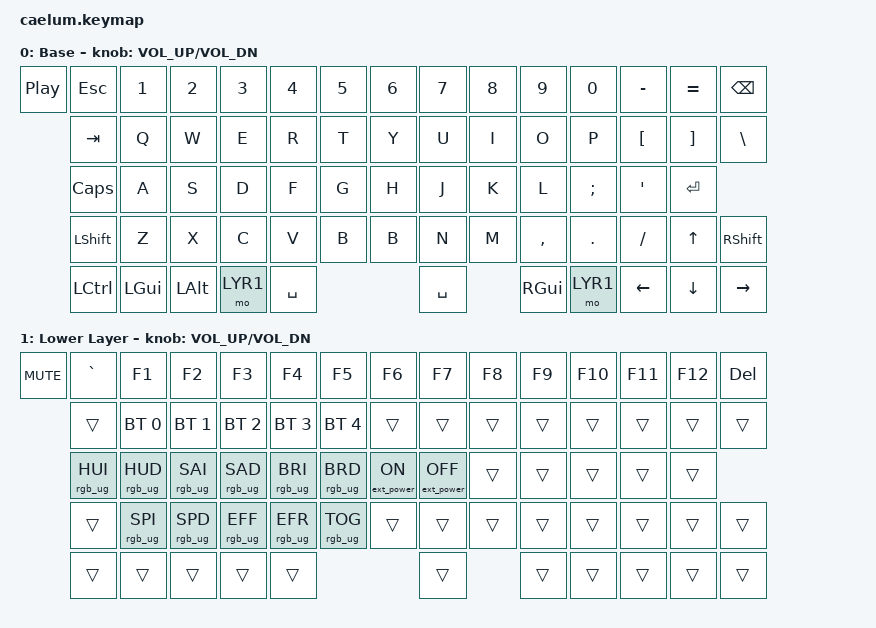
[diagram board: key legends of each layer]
#include <behaviors.dtsi>
#include <dt-bindings/zmk/bt.h>
#include <dt-bindings/zmk/ext_power.h>
#include <dt-bindings/zmk/keys.h>
#include <dt-bindings/zmk/rgb.h>

#define LYR1 1

/ {
    keymap {
        compatible = "zmk,keymap";

        default_layer { // Layer 0
            display-name = "Base";
            // ----------------------------------------------------------------------------------------------------------------------------------------------------
            //  | C_PP    | ESC     | 1       | 2       | 3       | 4       | 5       |       | 6       | 7       | 8       | 9       | 0       | -       | =       | BSPC    |
            //            | TAB     | Q       | W       | E       | R       | T       |       | Y       | U       | I       | O       | P       | [       | ]       | \       |
            //            | CAPS    | A       | S       | D       | F       | G       |       | H       | J       | K       | L       | ;       | '       |       ENTER       |
            //            | LSHFT   | Z       | X       | C       | V       | B       |       | B       | N       | M       | ,       | .       | /       | UP      | RSHFT   |
            //            | LCTRL   | WIN     | ALT     | LAYER1  | SPC     |                           | SPC     |         | ALT     | RCTRL   | LEFT    | DOWN    | RIGHT   |
            bindings = <
                &kp C_PP   &kp ESC    &kp N1    &kp N2    &kp N3    &kp N4    &kp N5           &kp N6    &kp N7    &kp N8    &kp N9    &kp N0    &kp MINUS &kp EQUAL &kp BSPC
                           &kp TAB    &kp Q     &kp W     &kp E     &kp R     &kp T            &kp Y     &kp U     &kp I     &kp O     &kp P     &kp LBKT  &kp RBKT  &kp BSLH
                           &kp CAPS   &kp A     &kp S     &kp D     &kp F     &kp G            &kp H     &kp J     &kp K     &kp L     &kp SEMI  &kp APOS  &kp ENTER
                           &kp LSHFT  &kp Z     &kp X     &kp C     &kp V     &kp B            &kp B     &kp N     &kp M     &kp COMMA &kp DOT   &kp SLASH &kp UP    &kp RSHFT
                           &kp LCTRL  &kp LGUI  &kp LALT  &mo LYR1  &kp SPC                              &kp SPC             &kp RGUI  &mo LYR1  &kp LEFT  &kp DOWN  &kp RIGHT
            >;

            sensor-bindings = <&inc_dec_kp C_VOL_UP C_VOL_DN>;
        };
        
        mod_layer { // Layer 1 (LYR1)
            display-name = "Lower Layer";
            // ----------------------------------------------------------------------------------------------------------------------------------------------------
            //  |         | `       | F1      | F2      | F3      | F4      | F5      |       | F6      | F7      | F8      | F9      | F10     | F11     | F12     | DEL     |
            //            |         | BT0     | BT1     | BT2     | BT3     | BT4     |       |         |         |         |         |         |         |         |         |
            //            | RGB_HUI | RGB_HUD | RGB_SAI | RGB_SAD | RGB_BRI | RGB_BRD |       | EP_ON   | EP_OFF  |         |         |         |         |                   |
            //            |         | RGB_SPI | RGB_SPD | RGB_EFF | RGB_EFR | RGB_TOG |       |         |         |         |         |         |         |         |         |
            //            |         |         |         |         |         |                           |         |         |         |         |         |         |         |
            bindings = <
                &kp C_MUTE &kp GRAVE        &kp F1           &kp F2           &kp F3           &kp F4           &kp F5              &kp F6            &kp F7             &kp F8    &kp F9    &kp F10   &kp F11   &kp F12   &kp DEL
                           &trans           &bt BT_SEL 0     &bt BT_SEL 1     &bt BT_SEL 2     &bt BT_SEL 3     &bt BT_SEL 4        &trans            &trans             &trans    &trans    &trans    &trans    &trans    &trans
                           &rgb_ug RGB_HUI  &rgb_ug RGB_HUD  &rgb_ug RGB_SAI  &rgb_ug RGB_SAD  &rgb_ug RGB_BRI  &rgb_ug RGB_BRD     &ext_power EP_ON  &ext_power EP_OFF  &trans    &trans    &trans    &trans    &trans
                           &trans           &rgb_ug RGB_SPI  &rgb_ug RGB_SPD  &rgb_ug RGB_EFF  &rgb_ug RGB_EFR  &rgb_ug RGB_TOG     &trans            &trans             &trans    &trans    &trans    &trans    &trans    &trans
                           &trans           &trans           &trans           &trans           &trans                                                 &trans                       &trans    &trans    &trans    &trans    &trans
            >;

            sensor-bindings = <&inc_dec_kp C_VOL_UP C_VOL_DN>;
        };
    };
 };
